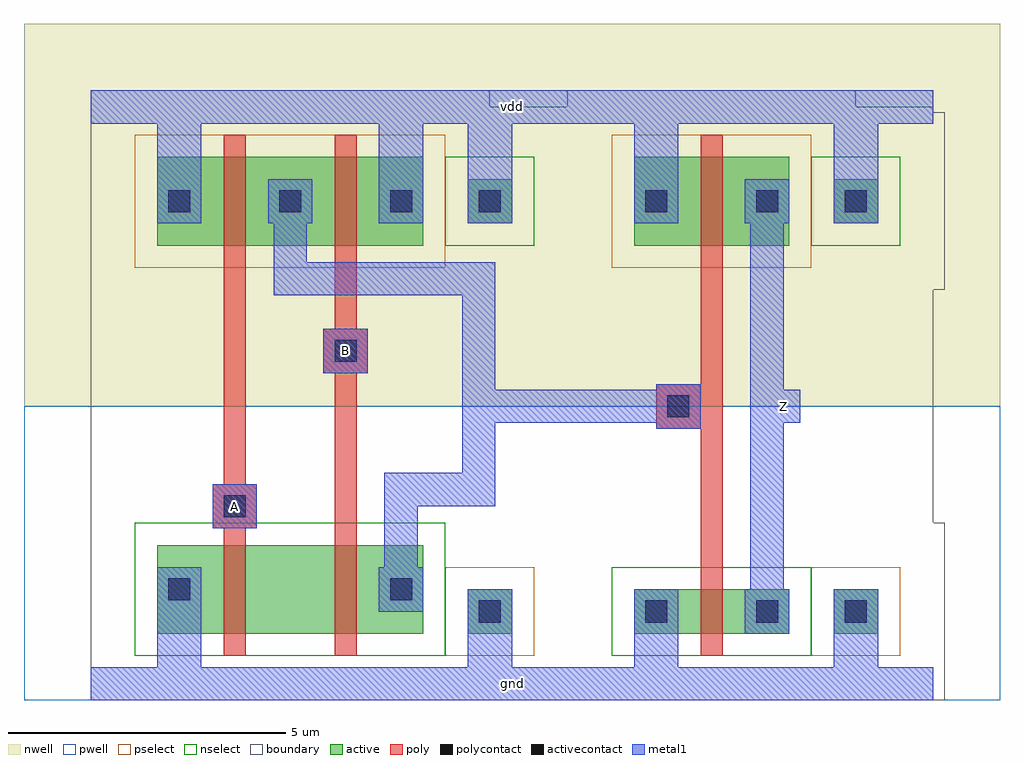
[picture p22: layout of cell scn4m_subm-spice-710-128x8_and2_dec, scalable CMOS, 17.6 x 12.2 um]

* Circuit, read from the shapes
.subckt scn4m_subm-spice-710-128x8_and2_dec A B Z gnd vdd
M1 scn4m_subm-spice-710-128x8_pnand2_0/scn4m_subm-spice-710-128x8_nmos_m1_w1_600_sm1_dactive_2/D A gnd gnd nfet w=1.6u l=0.4u
M2 scn4m_subm-spice-710-128x8_pinv_1/A B scn4m_subm-spice-710-128x8_pnand2_0/scn4m_subm-spice-710-128x8_nmos_m1_w1_600_sm1_dactive_2/D gnd nfet w=1.6u l=0.4u
M3 Z scn4m_subm-spice-710-128x8_pinv_1/A gnd gnd nfet w=0.8u l=0.4u
M4 scn4m_subm-spice-710-128x8_pinv_1/A A vdd vdd pfet w=1.6u l=0.4u
M5 vdd B scn4m_subm-spice-710-128x8_pinv_1/A vdd pfet w=1.6u l=0.4u
M6 Z scn4m_subm-spice-710-128x8_pinv_1/A vdd vdd pfet w=1.6u l=0.4u
.ends

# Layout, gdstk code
import gdstk
lib = gdstk.Library(unit=1e-6, precision=1e-09)
def R(c, l, rs):  # rectangles x0, y0, x1, y1
    for r in rs: c.add(gdstk.rectangle(r[:2], r[2:], *l))
pwell = (41, 0)
nwell = (42, 0)
active = (43, 0)
pselect = (44, 0)
nselect = (45, 0)
poly = (46, 0)
polycontact = (47, 0)
activecontact = (48, 0)
metal1 = (49, 0)
boundary = (63, 0)

scn4m_subm_spice_710_128 = lib.new_cell('scn4m_subm-spice-710-128x8_contact_12')
R(scn4m_subm_spice_710_128, nwell, [(-1.2,-1.2,2,2)])
R(scn4m_subm_spice_710_128, active, [(0,0,0.8,0.8)])
R(scn4m_subm_spice_710_128, pselect, [(-0.4,-0.4,1.2,1.2)])
R(scn4m_subm_spice_710_128, activecontact, [(0.2,0.2,0.6,0.6)])
R(scn4m_subm_spice_710_128, metal1, [(0,0,0.8,0.8)])
R(scn4m_subm_spice_710_128, boundary, [(-1.2,-1.2,2,2)])

c_scn4m_subm_spice_710_128 = lib.new_cell('scn4m_subm-spice-710-128x8_pmos_m1_w1_600_sm1_dm1')
R(c_scn4m_subm_spice_710_128, nwell, [(-1.2,-1.2,4,2.8)])
R(c_scn4m_subm_spice_710_128, active, [(0,0,2.8,1.6)])
R(c_scn4m_subm_spice_710_128, pselect, [(-0.4,-0.4,3.2,2)])
R(c_scn4m_subm_spice_710_128, poly, [(1.2,-0.4,1.6,2), (1.2,-0.4,1.6,2)])
R(c_scn4m_subm_spice_710_128, metal1, [(0,0.4,0.8,1.2), (2,0.4,2.8,1.2)])
R(c_scn4m_subm_spice_710_128, boundary, [(-1.2,-1.2,4,2.8)])
c_scn4m_subm_spice_710_128.add(gdstk.Reference(scn4m_subm_spice_710_128, (0,0.4)))
c_scn4m_subm_spice_710_128.add(gdstk.Reference(scn4m_subm_spice_710_128, (2,0.4)))
c_scn4m_subm_spice_710_128.add(gdstk.Label('G', (1.4,0.8), layer=46, texttype=0))
c_scn4m_subm_spice_710_128.add(gdstk.Label('S', (0.4,0.8), layer=49, texttype=0))
c_scn4m_subm_spice_710_128.add(gdstk.Label('D', (2.4,0.8), layer=49, texttype=0))

c_scn4m_subm_spice_710_128_ = lib.new_cell('scn4m_subm-spice-710-128x8_contact_11')
R(c_scn4m_subm_spice_710_128_, pwell, [(-1.2,-1.2,2,2)])
R(c_scn4m_subm_spice_710_128_, active, [(0,0,0.8,0.8)])
R(c_scn4m_subm_spice_710_128_, nselect, [(-0.4,-0.4,1.2,1.2)])
R(c_scn4m_subm_spice_710_128_, activecontact, [(0.2,0.2,0.6,0.6)])
R(c_scn4m_subm_spice_710_128_, metal1, [(0,0,0.8,0.8)])
R(c_scn4m_subm_spice_710_128_, boundary, [(-1.2,-1.2,2,2)])

c_scn4m_subm_spice_710_128__ = lib.new_cell('scn4m_subm-spice-710-128x8_nmos_m1_w1_600_sm1_dactive')
R(c_scn4m_subm_spice_710_128__, pwell, [(-1.2,-1.2,4,2.8)])
R(c_scn4m_subm_spice_710_128__, active, [(0,0,2.8,1.6), (2.1,0.5,2.7,1.1)])
R(c_scn4m_subm_spice_710_128__, nselect, [(-0.4,-0.4,3.2,2)])
R(c_scn4m_subm_spice_710_128__, poly, [(1.2,-0.4,1.6,2), (1.2,-0.4,1.6,2)])
R(c_scn4m_subm_spice_710_128__, metal1, [(0,0.4,0.8,1.2)])
R(c_scn4m_subm_spice_710_128__, boundary, [(-1.2,-1.2,4,2.8)])
c_scn4m_subm_spice_710_128__.add(gdstk.Reference(c_scn4m_subm_spice_710_128_, (0,0.4)))
c_scn4m_subm_spice_710_128__.add(gdstk.Label('G', (1.4,0.8), layer=46, texttype=0))
c_scn4m_subm_spice_710_128__.add(gdstk.Label('S', (0.4,0.8), layer=49, texttype=0))
c_scn4m_subm_spice_710_128__.add(gdstk.Label('D', (2.4,0.8), layer=43, texttype=0))

c_scn4m_subm_spice_710_128___ = lib.new_cell('scn4m_subm-spice-710-128x8_nmos_m1_w1_600_sactive_dm1')
R(c_scn4m_subm_spice_710_128___, pwell, [(-1.2,-1.2,4,2.8)])
R(c_scn4m_subm_spice_710_128___, active, [(0,0,2.8,1.6), (0.1,0.5,0.7,1.1)])
R(c_scn4m_subm_spice_710_128___, nselect, [(-0.4,-0.4,3.2,2)])
R(c_scn4m_subm_spice_710_128___, poly, [(1.2,-0.4,1.6,2), (1.2,-0.4,1.6,2)])
R(c_scn4m_subm_spice_710_128___, metal1, [(2,0.4,2.8,1.2)])
R(c_scn4m_subm_spice_710_128___, boundary, [(-1.2,-1.2,4,2.8)])
c_scn4m_subm_spice_710_128___.add(gdstk.Reference(c_scn4m_subm_spice_710_128_, (2,0.4)))
c_scn4m_subm_spice_710_128___.add(gdstk.Label('G', (1.4,0.8), layer=46, texttype=0))
c_scn4m_subm_spice_710_128___.add(gdstk.Label('S', (0.4,0.8), layer=43, texttype=0))
c_scn4m_subm_spice_710_128___.add(gdstk.Label('D', (2.4,0.8), layer=49, texttype=0))

c_scn4m_subm_spice_710_128____ = lib.new_cell('scn4m_subm-spice-710-128x8_contact_13')
R(c_scn4m_subm_spice_710_128____, nwell, [(-1.2,-1.2,2,2)])
R(c_scn4m_subm_spice_710_128____, active, [(0,0,0.8,0.8)])
R(c_scn4m_subm_spice_710_128____, nselect, [(-0.4,-0.4,1.2,1.2)])
R(c_scn4m_subm_spice_710_128____, activecontact, [(0.2,0.2,0.6,0.6)])
R(c_scn4m_subm_spice_710_128____, metal1, [(0,0,0.8,0.8)])
R(c_scn4m_subm_spice_710_128____, boundary, [(-1.2,-1.2,2,2)])

c_scn4m_subm_spice_710_128_____ = lib.new_cell('scn4m_subm-spice-710-128x8_contact_14')
R(c_scn4m_subm_spice_710_128_____, pwell, [(-1.2,-1.2,2,2)])
R(c_scn4m_subm_spice_710_128_____, active, [(0,0,0.8,0.8)])
R(c_scn4m_subm_spice_710_128_____, pselect, [(-0.4,-0.4,1.2,1.2)])
R(c_scn4m_subm_spice_710_128_____, activecontact, [(0.2,0.2,0.6,0.6)])
R(c_scn4m_subm_spice_710_128_____, metal1, [(0,0,0.8,0.8)])
R(c_scn4m_subm_spice_710_128_____, boundary, [(-1.2,-1.2,2,2)])

c_scn4m_subm_spice_710_128______ = lib.new_cell('scn4m_subm-spice-710-128x8_contact_15')
R(c_scn4m_subm_spice_710_128______, poly, [(0,0,0.8,0.8)])
R(c_scn4m_subm_spice_710_128______, polycontact, [(0.2,0.2,0.6,0.6)])
R(c_scn4m_subm_spice_710_128______, metal1, [(0,0,0.8,0.8)])
R(c_scn4m_subm_spice_710_128______, boundary, [(0,0,0.8,0.8)])

c_scn4m_subm_spice_710_128_______ = lib.new_cell('scn4m_subm-spice-710-128x8_pnand2')
R(c_scn4m_subm_spice_710_128_______, pwell, [(-1.2,-0.3,9.8,5)])
R(c_scn4m_subm_spice_710_128_______, nwell, [(-1.2,5,9.8,11.9)])
R(c_scn4m_subm_spice_710_128_______, poly, [(2.4,2.8,2.6,3.6), (2.4,2.9,2.8,7.5), (4.4,2.9,4.8,7.5), (4.4,5.6,4.6,6.4)])
R(c_scn4m_subm_spice_710_128_______, metal1, [(0,-0.3,8.6,0.3), (1.2,-0.3,2,1.3), (6.8,0,7.6,1.3), (5.3,2.1,5.9,3.5), (2.2,2.8,3,3.6), (5.3,3.2,5.9,3.8), (5.6,3.2,7,3.8), (6.7,3.2,7.3,3.8), (6.7,3.5,7.3,7.3), (4.2,5.6,5,6.4), (3.3,7,3.9,7.6), (3.6,7,7,7.6), (6.7,7,7.3,7.6), (3.3,7.3,3.9,8.3), (1.2,8.3,2,10.7), (5.2,8.3,6,10.7), (6.8,8.7,7.6,10.4), (0,10.1,8.6,10.7)])
R(c_scn4m_subm_spice_710_128_______, boundary, [(0,0,8.6,10.4), (0,0,8.6,10.4)])
c_scn4m_subm_spice_710_128_______.add(gdstk.Reference(c_scn4m_subm_spice_710_128, (1.2,7.9)))
c_scn4m_subm_spice_710_128_______.add(gdstk.Reference(c_scn4m_subm_spice_710_128, (3.2,7.9)))
c_scn4m_subm_spice_710_128_______.add(gdstk.Reference(c_scn4m_subm_spice_710_128__, (1.2,0.9)))
c_scn4m_subm_spice_710_128_______.add(gdstk.Reference(c_scn4m_subm_spice_710_128___, (3.2,0.9)))
c_scn4m_subm_spice_710_128_______.add(gdstk.Reference(c_scn4m_subm_spice_710_128____, (6.8,8.3)))
c_scn4m_subm_spice_710_128_______.add(gdstk.Reference(c_scn4m_subm_spice_710_128_____, (6.8,0.9)))
c_scn4m_subm_spice_710_128_______.add(gdstk.Reference(c_scn4m_subm_spice_710_128______, (2.2,2.8)))
c_scn4m_subm_spice_710_128_______.add(gdstk.Reference(c_scn4m_subm_spice_710_128______, (4.2,5.6)))
c_scn4m_subm_spice_710_128_______.add(gdstk.Label('Z', (7,7.3), layer=49, texttype=0))
c_scn4m_subm_spice_710_128_______.add(gdstk.Label('gnd', (4.3,0), layer=49, texttype=0))
c_scn4m_subm_spice_710_128_______.add(gdstk.Label('vdd', (4.3,10.4), layer=49, texttype=0))
c_scn4m_subm_spice_710_128_______.add(gdstk.Label('A', (2.6,3.2), layer=49, texttype=0))
c_scn4m_subm_spice_710_128_______.add(gdstk.Label('B', (4.6,6), layer=49, texttype=0))

c_scn4m_subm_spice_710_128________ = lib.new_cell('scn4m_subm-spice-710-128x8_pmos_m1_w1_600_sm1_dm1_da_p')
R(c_scn4m_subm_spice_710_128________, nwell, [(-1.2,-1.2,4,2.8)])
R(c_scn4m_subm_spice_710_128________, active, [(0,0,2.8,1.6)])
R(c_scn4m_subm_spice_710_128________, pselect, [(-0.4,-0.4,3.2,2)])
R(c_scn4m_subm_spice_710_128________, poly, [(1.2,-0.4,1.6,2), (1.2,-0.4,1.6,2)])
R(c_scn4m_subm_spice_710_128________, metal1, [(0,0.4,0.8,1.2), (2,0.4,2.8,1.2)])
R(c_scn4m_subm_spice_710_128________, boundary, [(-1.2,-1.2,4,2.8)])
c_scn4m_subm_spice_710_128________.add(gdstk.Reference(scn4m_subm_spice_710_128, (0,0.4)))
c_scn4m_subm_spice_710_128________.add(gdstk.Reference(scn4m_subm_spice_710_128, (2,0.4)))
c_scn4m_subm_spice_710_128________.add(gdstk.Label('G', (1.4,0.8), layer=46, texttype=0))
c_scn4m_subm_spice_710_128________.add(gdstk.Label('S', (0.4,0.8), layer=49, texttype=0))
c_scn4m_subm_spice_710_128________.add(gdstk.Label('D', (2.4,0.8), layer=49, texttype=0))

c_scn4m_subm_spice_710_128_________ = lib.new_cell('scn4m_subm-spice-710-128x8_nmos_m1_w0_800_sm1_dm1_da_p')
R(c_scn4m_subm_spice_710_128_________, pwell, [(-1.2,-1.2,4,2)])
R(c_scn4m_subm_spice_710_128_________, active, [(0,0,2.8,0.8)])
R(c_scn4m_subm_spice_710_128_________, nselect, [(-0.4,-0.4,3.2,1.2)])
R(c_scn4m_subm_spice_710_128_________, poly, [(1.2,-0.4,1.6,1.2), (1.2,-0.4,1.6,1.2)])
R(c_scn4m_subm_spice_710_128_________, metal1, [(0,0,0.8,0.8), (2,0,2.8,0.8)])
R(c_scn4m_subm_spice_710_128_________, boundary, [(-1.2,-1.2,4,2)])
c_scn4m_subm_spice_710_128_________.add(gdstk.Reference(c_scn4m_subm_spice_710_128_, (0,0)))
c_scn4m_subm_spice_710_128_________.add(gdstk.Reference(c_scn4m_subm_spice_710_128_, (2,0)))
c_scn4m_subm_spice_710_128_________.add(gdstk.Label('G', (1.4,0.4), layer=46, texttype=0))
c_scn4m_subm_spice_710_128_________.add(gdstk.Label('S', (0.4,0.4), layer=49, texttype=0))
c_scn4m_subm_spice_710_128_________.add(gdstk.Label('D', (2.4,0.4), layer=49, texttype=0))

c_scn4m_subm_spice_710_128__________ = lib.new_cell('scn4m_subm-spice-710-128x8_pinv')
R(c_scn4m_subm_spice_710_128__________, pwell, [(-1.2,-0.3,7.8,5)])
R(c_scn4m_subm_spice_710_128__________, nwell, [(-1.2,5,7.8,11.9)])
R(c_scn4m_subm_spice_710_128__________, poly, [(2.4,2.1,2.8,7.5), (2,4.6,2.4,5.4)])
R(c_scn4m_subm_spice_710_128__________, metal1, [(0,-0.3,6.6,0.3), (1.2,-0.3,2,0.9), (4.8,0,5.6,1.3), (3.3,0.9,3.9,9.1), (1.6,4.6,2.4,5.4), (3.6,4.7,4.2,5.3), (1.2,8.3,2,10.7), (4.8,8.7,5.6,10.4), (0,10.1,6.6,10.7)])
R(c_scn4m_subm_spice_710_128__________, boundary, [(0,0,6.6,10.4), (0,0,6.6,10.4)])
c_scn4m_subm_spice_710_128__________.add(gdstk.Reference(c_scn4m_subm_spice_710_128________, (1.2,7.9)))
c_scn4m_subm_spice_710_128__________.add(gdstk.Reference(c_scn4m_subm_spice_710_128_________, (1.2,0.9)))
c_scn4m_subm_spice_710_128__________.add(gdstk.Reference(c_scn4m_subm_spice_710_128____, (4.8,8.3)))
c_scn4m_subm_spice_710_128__________.add(gdstk.Reference(c_scn4m_subm_spice_710_128_____, (4.8,0.9)))
c_scn4m_subm_spice_710_128__________.add(gdstk.Reference(c_scn4m_subm_spice_710_128______, (1.6,4.6)))
c_scn4m_subm_spice_710_128__________.add(gdstk.Label('A', (2,5), layer=49, texttype=0))
c_scn4m_subm_spice_710_128__________.add(gdstk.Label('Z', (3.9,5), layer=49, texttype=0))
c_scn4m_subm_spice_710_128__________.add(gdstk.Label('gnd', (3.3,0), layer=49, texttype=0))
c_scn4m_subm_spice_710_128__________.add(gdstk.Label('vdd', (3.3,10.4), layer=49, texttype=0))

c_scn4m_subm_spice_710_128___________ = lib.new_cell('scn4m_subm-spice-710-128x8_and2_dec')
R(c_scn4m_subm_spice_710_128___________, metal1, [(0,-0.3,15.2,0.3), (2.2,2.8,3,3.6), (6.7,4.7,7.3,5.3), (7,4.7,10.6,5.3), (12.2,4.7,12.8,5.3), (6.7,5,7.3,7.3), (4.2,5.6,5,6.4), (0,10.1,15.2,10.7)])
R(c_scn4m_subm_spice_710_128___________, boundary, [(0,0,15.2,10.4)])
c_scn4m_subm_spice_710_128___________.add(gdstk.Reference(c_scn4m_subm_spice_710_128_______, (0,0)))
c_scn4m_subm_spice_710_128___________.add(gdstk.Reference(c_scn4m_subm_spice_710_128__________, (8.6,0)))
c_scn4m_subm_spice_710_128___________.add(gdstk.Label('Z', (12.5,5), layer=49, texttype=0))
c_scn4m_subm_spice_710_128___________.add(gdstk.Label('A', (2.6,3.2), layer=49, texttype=0))
c_scn4m_subm_spice_710_128___________.add(gdstk.Label('B', (4.6,6), layer=49, texttype=0))
c_scn4m_subm_spice_710_128___________.add(gdstk.Label('gnd', (7.6,0), layer=49, texttype=0))
c_scn4m_subm_spice_710_128___________.add(gdstk.Label('vdd', (7.6,10.4), layer=49, texttype=0))

lib.write_gds('scn4m_subm-spice-710-128x8_and2_dec.gds')
